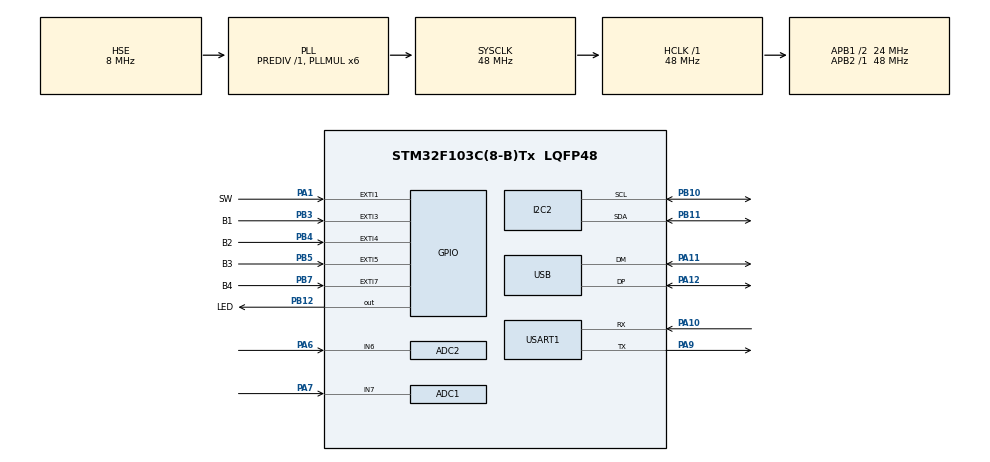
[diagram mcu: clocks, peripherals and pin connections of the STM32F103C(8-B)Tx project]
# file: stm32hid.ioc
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Mcu.Family=STM32F1
USB_DEVICE.CLASS_NAME_FS=HID
PB10.Mode=I2C
NVIC.EXTI3_IRQn=true\:0\:0\:false\:false\:true\:true\:true
PA11.Mode=Device
NVIC.TIM1_UP_IRQn=true\:0\:0\:false\:false\:true\:true\:true
PB11.Signal=I2C2_SDA
RCC.SYSCLKSource=RCC_SYSCLKSOURCE_PLLCLK
ProjectManager.StackSize=0x400
PD1-OSC_OUT.Signal=RCC_OSC_OUT
NVIC.EXTI1_IRQn=true\:0\:0\:false\:false\:true\:true\:true
PA12.Signal=USB_DP
TIM1.Prescaler=48000
RCC.HCLKFreq_Value=48000000
RCC.APB2TimFreq_Value=48000000
RCC.AHBFreq_Value=48000000
ADC1.Channel-0\#ChannelRegularConversion=ADC_CHANNEL_7
RCC.PLLMUL=RCC_PLL_MUL6
PB12.GPIO_Label=LED
PB3.GPIO_PuPd=GPIO_PULLUP
PA14.Mode=Serial_Wire
PB7.Signal=GPXTI7
VP_TIM1_VS_ClockSourceINT.Mode=Internal
ADC1.SamplingTime-0\#ChannelRegularConversion=ADC_SAMPLETIME_1CYCLE_5
PB7.GPIO_Label=B4
Mcu.Package=LQFP48
PA6.Signal=ADCx_IN6
PA10.Signal=USART1_RX
ADC2.SamplingTime-2\#ChannelRegularConversion=ADC_SAMPLETIME_1CYCLE_5
PB5.GPIO_Label=B3
RCC.APB1TimFreq_Value=48000000
ADC2.Rank-2\#ChannelRegularConversion=1
TIM1.Period=50
NVIC.USART1_IRQn=true\:0\:0\:false\:false\:true\:true\:true
PB4.Signal=GPXTI4
PB3.GPIO_Label=B1
PB7.GPIO_PuPd=GPIO_PULLUP
NVIC.EXTI4_IRQn=true\:0\:0\:false\:false\:true\:true\:true
ADC1.Rank-0\#ChannelRegularConversion=1
PD1-OSC_OUT.Mode=HSE-External-Oscillator
PA10.Mode=Asynchronous
USB_DEVICE.VirtualModeFS=Hid_FS
SH.ADCx_IN6.0=ADC2_IN6,IN6
USB_DEVICE.PRODUCT_STRING_HID_FS=IEM OPEN CONTROLLER
PD0-OSC_IN.Signal=RCC_OSC_IN
RCC.APB1CLKDivider=RCC_HCLK_DIV2
RCC.ADCPresc=RCC_ADCPCLK2_DIV4
PA13.Signal=SYS_JTMS-SWDIO
PA9.Mode=Asynchronous
PB11.Mode=I2C
ProjectManager.TargetToolchain=STM32CubeIDE
SH.ADCx_IN7.0=ADC1_IN7,IN7
PA9.Signal=USART1_TX
PB4.GPIO_PuPd=GPIO_PULLUP
RCC.USBFreq_Value=48000000
PA1.Signal=GPXTI1
PD0-OSC_IN.Mode=HSE-External-Oscillator
PB10.Signal=I2C2_SCL
NVIC.TIM1_TRG_COM_IRQn=true\:0\:0\:false\:false\:true\:true\:true
board=custom
ADC2.Channel-2\#ChannelRegularConversion=ADC_CHANNEL_6
VP_USB_DEVICE_VS_USB_DEVICE_HID_FS.Mode=HID_FS
RCC.APB2Freq_Value=48000000
PB4.GPIO_Label=B2
NVIC.USB_LP_CAN1_RX0_IRQn=true\:0\:0\:false\:false\:true\:false\:true
PA1.GPIO_Label=SW
PA13.Mode=Serial_Wire
Mcu.Name=STM32F103C(8-B)Tx
NVIC.TIM1_CC_IRQn=true\:0\:0\:false\:false\:true\:true\:true
PB3.Signal=GPXTI3
RCC.SYSCLKFreq_VALUE=48000000
PB5.Signal=GPXTI5
ADC1.master=1
PA12.Mode=Device
ADC2.NbrOfConversionFlag=1
PB5.GPIO_PuPd=GPIO_PULLUP
USART1.VirtualMode=VM_ASYNC
PA11.Signal=USB_DM
NVIC.EXTI9_5_IRQn=true\:0\:0\:false\:false\:true\:true\:true
PA14.Signal=SYS_JTCK-SWCLK
NVIC.TIM1_BRK_IRQn=true\:0\:0\:false\:false\:true\:true\:true
ProjectManager.HeapSize=0x200
NVIC.PriorityGroup=NVIC_PRIORITYGROUP_4
ADC1.NbrOfConversionFlag=1
RCC.APB1Freq_Value=24000000
USB_DEVICE.VirtualMode=Hid
PB12.Signal=GPIO_Output
PA7.Signal=ADCx_IN7

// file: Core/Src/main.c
/* USER CODE BEGIN Header */
/**
  ******************************************************************************
  * @file           : main.c
  * @brief          : Main program body
  ******************************************************************************
  * @attention
  *
  * <h2><center>&copy; Copyright (c) 2021 STMicroelectronics.
  * All rights reserved.</center></h2>
  *
  * This software component is licensed by ST under BSD 3-Clause license,
  * the "License"; You may not use this file except in compliance with the
  * License. You may obtain a copy of the License at:
  *                        opensource.org/licenses/BSD-3-Clause
  *
  ******************************************************************************
  */
/* USER CODE END Header */
#include "main.h"
#include "usb_device.h"

/* USER CODE BEGIN Includes */
#include "usbd_hid.h"
#include "string.h"
#include "stdio.h"
#include "mpu6050.h"
#include "stdbool.h"
//#include "adc.h"
//#include "usart.h"
/* USER CODE END Includes */

/* USER CODE BEGIN PD */
//#define DBG_BUF_LEN     512
DebugEnable debugenable;
MPU6050_t mpu6050;

/* USER CODE END PD */

ADC_HandleTypeDef hadc1;
ADC_HandleTypeDef hadc2;

I2C_HandleTypeDef hi2c2;

TIM_HandleTypeDef htim1;

UART_HandleTypeDef huart1;

/* USER CODE BEGIN PV */
int16_t min_xval = 128;
int16_t max_xval = -128;
int16_t min_yval = 128;
int16_t max_yval = -128;

int16_t newxval = 0;
int16_t newyval = 0;

uint8_t button_flag=0;

unsigned long pressed = 0;
uint8_t val = 0, interrupt_happened = 0, push_button_1 = 0, push_button_2 = 0, push_button_3 = 0, push_button_4 = 0;
uint16_t AD_RES1 = 0;
uint16_t AD_RES2 = 0;

uint8_t buf[35] = {'\0'};
uint8_t X = 0;
uint8_t UART1_recv;
uint8_t arr[10] = {'\0'};

bool state = true;

#define DBG_BUF_LEN     512
char DBG_BUFFER[DBG_BUF_LEN];

/* USER CODE END PV */

void SystemClock_Config(void);
static void MX_GPIO_Init(void);
static void MX_ADC1_Init(void);
static void MX_ADC2_Init(void);
static void MX_USART1_UART_Init(void);
static void MX_I2C2_Init(void);
static void MX_TIM1_Init(void);
/* USER CODE BEGIN PFP */
void printData(int data);
/* USER CODE END PFP */

/* USER CODE BEGIN 0 */
extern USBD_HandleTypeDef hUsbDeviceFS;

#define SYSTEM_DEBUG(FORMAT,...) {\
    memset(DBG_BUFFER, 0, DBG_BUF_LEN);\
    strcpy(DBG_BUFFER, "[SYSTEM]: "); \
    sprintf(DBG_BUFFER + strlen("[SYSTEM]: "),FORMAT,##__VA_ARGS__); \
	if(debugenable.system)\
		HAL_UART_Transmit(&huart1, (uint8_t*)(DBG_BUFFER), strlen((const char *)(DBG_BUFFER)), 2000);\
}
#define SIMPLE_DEBUG(FORMAT,...) {\
    memset(DBG_BUFFER, 0, DBG_BUF_LEN);\
    sprintf(DBG_BUFFER,FORMAT,##__VA_ARGS__); \
	HAL_UART_Transmit(&huart1, (uint8_t*)(DBG_BUFFER), strlen((const char *)(DBG_BUFFER)), 2000);\
}

typedef struct
{
	uint8_t button;
	int8_t mouse_x;
	int8_t mouse_y;
	int8_t wheel;
} mouseHID;

mouseHID mousehid = {0,0,0,0};

typedef struct
{
	uint8_t MODIFIER;
	uint8_t RESERVED;
	uint8_t KEYCODE1;
	uint8_t KEYCODE2;
	uint8_t KEYCODE3;
	uint8_t KEYCODE4;
	uint8_t KEYCODE5;
	uint8_t KEYCODE6;
} keyboardHID;

keyboardHID keyboardhid = {0,0,0,0,0,0,0,0};

void MPU_Calibrate (void)
{
	for (int i=0; i<50; i++)
	{
		MPU6050_Read_All(&hi2c2,&mpu6050);
		min_xval = MIN(min_xval, mpu6050.KalmanAngleX);
		max_xval = MAX(max_xval, mpu6050.KalmanAngleX);
		min_yval = MIN(min_yval, mpu6050.KalmanAngleY);
		max_yval = MAX(max_yval, mpu6050.KalmanAngleY);
		HAL_Delay (50);
	}

	/* Turn On the LED to show the completion of calibration */
	HAL_GPIO_WritePin(GPIOB, GPIO_PIN_5, 0);
}

/* USER CODE END 0 */

int main(void)
{

  /* MCU Configuration--------------------------------------------------------*/

  /* Reset of all peripherals, Initializes the Flash interface and the Systick. */
  HAL_Init();

  /* Configure the system clock */
  SystemClock_Config();

  /* Initialize all configured peripherals */
  MX_GPIO_Init();
  MX_USB_DEVICE_Init();
  MX_ADC1_Init();
  MX_ADC2_Init();
  MX_USART1_UART_Init();
  MX_I2C2_Init();
  MX_TIM1_Init();
  /* USER CODE BEGIN 2 */
  MPU6050_Init(&hi2c2);
  MPU_Calibrate();

  HAL_UART_Receive_IT(&huart1, &UART1_recv, 1);
  HAL_ADCEx_Calibration_Start(&hadc1);
  HAL_ADCEx_Calibration_Start(&hadc2);
  debugenable.system = 1;
  /* USER CODE END 2 */

  /* Infinite loop */
  while (1)
  {

    /* USER CODE BEGIN 3 */
	  MPU6050_Read_All(&hi2c2,&mpu6050);
//	  SIMPLE_DEBUG("%f,%f,%f\n ",mpu6050.Gx,mpu6050.Gy,mpu6050.Gz);
	  SIMPLE_DEBUG("%f,%f\n",mpu6050.KalmanAngleX,mpu6050.KalmanAngleY)
	  if (mpu6050.KalmanAngleX < min_xval) newxval = mpu6050.KalmanAngleX - min_xval;
	  if (mpu6050.KalmanAngleX > max_xval) newxval = mpu6050.KalmanAngleX - max_xval;
	  if (mpu6050.KalmanAngleY < min_yval) newyval = mpu6050.KalmanAngleY - min_yval;
	  if (mpu6050.KalmanAngleY > max_yval) newyval = mpu6050.KalmanAngleY - max_yval;

	  SIMPLE_DEBUG("%d,%d\n",newxval,newyval);

//	  if ((newxval > 20) || (newxval < -20))
//	  {
//		  mousehid.mouse_y = newxval/3;
//	  }
//
//	  else mousehid.mouse_y = 0;
//
//	  if ((newyval > 20) || (newyval < -20))
//	  {
//		  mousehid.mouse_x = newyval/3;
//	  }
//
//	  else mousehid.mouse_x = 0;

	  if (((newyval > 5) || (newyval < -5))||((newxval > 5) || (newxval < -5)))
	  {
		  mousehid.mouse_x = newyval/3;
		  mousehid.mouse_y = newxval/3;
	  }

	  else
      {
		mousehid.mouse_x = 0;
		mousehid.mouse_y = 0;
      }

	  HAL_ADC_Start(&hadc1);
      HAL_ADC_Start(&hadc2);
     // Poll ADC1 Peripheral & TimeOut = 1mSec
      HAL_ADC_PollForConversion(&hadc1, 1);
      HAL_ADC_PollForConversion(&hadc2, 1);
     // Read The ADC Conversion Result & Map It To PWM DutyCycle
      AD_RES1 = HAL_ADC_GetValue(&hadc1);
      AD_RES2 = HAL_ADC_GetValue(&hadc2);

      USBD_HID_SendReport(&hUsbDeviceFS, &mousehid, sizeof(mousehid));

//      if(interrupt_happened)
//      {
//    	  HAL_GPIO_TogglePin(GPIOB,GPIO_PIN_12);
//    	  interrupt_happened = 0;
//      }
//      printData(AD_RES1);

//      SYSTEM_DEBUG("1: %d, 2: %d\n",AD_RES1,AD_RES2);

//	  val = HAL_GPIO_ReadPin(GPIOA, GPIO_PIN_1);
//	  if(!HAL_GPIO_ReadPin(GPIOA, GPIO_PIN_1))
//	  {
//		  HAL_Delay(50);
////		  keyboardhid.MODIFIER = 0x02;   // for left shift to print capital
//		  keyboardhid.MODIFIER = 0x01;   // for left ctrl to copy
////		  keyboardhid.KEYCODE1 = 0x04;   // for a
//		  keyboardhid.KEYCODE1 = 0x06;   // for c
//
//
//
//
//
//		  USBD_HID_SendReport(&hUsbDeviceFS, &keyboardhid, sizeof(keyboardhid));
//		  HAL_Delay(50);
//		  keyboardhid.MODIFIER = 0x00;   //release left shift
//		  keyboardhid.KEYCODE1 = 0x00;   //realease key
//		  USBD_HID_SendReport(&hUsbDeviceFS, &keyboardhid, sizeof(keyboardhid));
//
//
//	  }
//	  if(!HAL_GPIO_ReadPin(GPIOA, GPIO_PIN_2))
//	  {
//		  HAL_Delay(50);
//		  if(HAL_GetTick() - pressed > 100)
//		  {
//			  keyboardhid.MODIFIER = 0x01;   // for left ctrl to paste
//			  keyboardhid.KEYCODE1 = 0x19;   // for v
//			  USBD_HID_SendReport(&hUsbDeviceFS, &keyboardhid, sizeof(keyboardhid));
//			  HAL_Delay(50);
//
//			  keyboardhid.MODIFIER = 0x00;   //release left shift
//			  keyboardhid.KEYCODE1 = 0x00;   //realease key
//			  USBD_HID_SendReport(&hUsbDeviceFS, &keyboardhid, sizeof(keyboardhid));
//
//			  pressed = HAL_GetTick();
//		  }
//	  }
	  HAL_Delay(10);
  }
  /* USER CODE END 3 */
}

void SystemClock_Config(void)
{
  RCC_OscInitTypeDef RCC_OscInitStruct = {0};
  RCC_ClkInitTypeDef RCC_ClkInitStruct = {0};
  RCC_PeriphCLKInitTypeDef PeriphClkInit = {0};

  /** Initializes the RCC Oscillators according to the specified parameters
  * in the RCC_OscInitTypeDef structure.
  */
  RCC_OscInitStruct.OscillatorType = RCC_OSCILLATORTYPE_HSE;
  RCC_OscInitStruct.HSEState = RCC_HSE_ON;
  RCC_OscInitStruct.HSEPredivValue = RCC_HSE_PREDIV_DIV1;
  RCC_OscInitStruct.HSIState = RCC_HSI_ON;
  RCC_OscInitStruct.PLL.PLLState = RCC_PLL_ON;
  RCC_OscInitStruct.PLL.PLLSource = RCC_PLLSOURCE_HSE;
  RCC_OscInitStruct.PLL.PLLMUL = RCC_PLL_MUL6;
  if (HAL_RCC_OscConfig(&RCC_OscInitStruct) != HAL_OK)
  {
    Error_Handler();
  }
  /** Initializes the CPU, AHB and APB buses clocks
  */
  RCC_ClkInitStruct.ClockType = RCC_CLOCKTYPE_HCLK|RCC_CLOCKTYPE_SYSCLK
                              |RCC_CLOCKTYPE_PCLK1|RCC_CLOCKTYPE_PCLK2;
  RCC_ClkInitStruct.SYSCLKSource = RCC_SYSCLKSOURCE_PLLCLK;
  RCC_ClkInitStruct.AHBCLKDivider = RCC_SYSCLK_DIV1;
  RCC_ClkInitStruct.APB1CLKDivider = RCC_HCLK_DIV2;
  RCC_ClkInitStruct.APB2CLKDivider = RCC_HCLK_DIV1;

  if (HAL_RCC_ClockConfig(&RCC_ClkInitStruct, FLASH_LATENCY_1) != HAL_OK)
  {
    Error_Handler();
  }
  PeriphClkInit.PeriphClockSelection = RCC_PERIPHCLK_ADC|RCC_PERIPHCLK_USB;
  PeriphClkInit.AdcClockSelection = RCC_ADCPCLK2_DIV4;
  PeriphClkInit.UsbClockSelection = RCC_USBCLKSOURCE_PLL;
  if (HAL_RCCEx_PeriphCLKConfig(&PeriphClkInit) != HAL_OK)
  {
    Error_Handler();
  }
}

static void MX_ADC1_Init(void)
{

  ADC_ChannelConfTypeDef sConfig = {0};

  /** Common config
  */
  hadc1.Instance = ADC1;
  hadc1.Init.ScanConvMode = ADC_SCAN_DISABLE;
  hadc1.Init.ContinuousConvMode = DISABLE;
  hadc1.Init.DiscontinuousConvMode = DISABLE;
  hadc1.Init.ExternalTrigConv = ADC_SOFTWARE_START;
  hadc1.Init.DataAlign = ADC_DATAALIGN_RIGHT;
  hadc1.Init.NbrOfConversion = 1;
  if (HAL_ADC_Init(&hadc1) != HAL_OK)
  {
    Error_Handler();
  }
  /** Configure Regular Channel
  */
  sConfig.Channel = ADC_CHANNEL_7;
  sConfig.Rank = ADC_REGULAR_RANK_1;
  sConfig.SamplingTime = ADC_SAMPLETIME_1CYCLE_5;
  if (HAL_ADC_ConfigChannel(&hadc1, &sConfig) != HAL_OK)
  {
    Error_Handler();
  }

}

static void MX_ADC2_Init(void)
{

  ADC_ChannelConfTypeDef sConfig = {0};

  /** Common config
  */
  hadc2.Instance = ADC2;
  hadc2.Init.ScanConvMode = ADC_SCAN_DISABLE;
  hadc2.Init.ContinuousConvMode = DISABLE;
  hadc2.Init.DiscontinuousConvMode = DISABLE;
  hadc2.Init.ExternalTrigConv = ADC_SOFTWARE_START;
  hadc2.Init.DataAlign = ADC_DATAALIGN_RIGHT;
  hadc2.Init.NbrOfConversion = 1;
  if (HAL_ADC_Init(&hadc2) != HAL_OK)
  {
    Error_Handler();
  }
  /** Configure Regular Channel
  */
  sConfig.Channel = ADC_CHANNEL_6;
  sConfig.Rank = ADC_REGULAR_RANK_1;
  sConfig.SamplingTime = ADC_SAMPLETIME_1CYCLE_5;
  if (HAL_ADC_ConfigChannel(&hadc2, &sConfig) != HAL_OK)
  {
    Error_Handler();
  }

}

static void MX_I2C2_Init(void)
{

  hi2c2.Instance = I2C2;
  hi2c2.Init.ClockSpeed = 100000;
  hi2c2.Init.DutyCycle = I2C_DUTYCYCLE_2;
  hi2c2.Init.OwnAddress1 = 0;
  hi2c2.Init.AddressingMode = I2C_ADDRESSINGMODE_7BIT;
  hi2c2.Init.DualAddressMode = I2C_DUALADDRESS_DISABLE;
  hi2c2.Init.OwnAddress2 = 0;
  hi2c2.Init.GeneralCallMode = I2C_GENERALCALL_DISABLE;
  hi2c2.Init.NoStretchMode = I2C_NOSTRETCH_DISABLE;
  if (HAL_I2C_Init(&hi2c2) != HAL_OK)
  {
    Error_Handler();
  }

}

static void MX_TIM1_Init(void)
{

  TIM_ClockConfigTypeDef sClockSourceConfig = {0};
  TIM_MasterConfigTypeDef sMasterConfig = {0};

  htim1.Instance = TIM1;
  htim1.Init.Prescaler = 48000;
  htim1.Init.CounterMode = TIM_COUNTERMODE_UP;
  htim1.Init.Period = 50;
  htim1.Init.ClockDivision = TIM_CLOCKDIVISION_DIV1;
  htim1.Init.RepetitionCounter = 0;
  htim1.Init.AutoReloadPreload = TIM_AUTORELOAD_PRELOAD_DISABLE;
  if (HAL_TIM_Base_Init(&htim1) != HAL_OK)
  {
    Error_Handler();
  }
  sClockSourceConfig.ClockSource = TIM_CLOCKSOURCE_INTERNAL;
  if (HAL_TIM_ConfigClockSource(&htim1, &sClockSourceConfig) != HAL_OK)
  {
    Error_Handler();
  }
  sMasterConfig.MasterOutputTrigger = TIM_TRGO_RESET;
  sMasterConfig.MasterSlaveMode = TIM_MASTERSLAVEMODE_DISABLE;
  if (HAL_TIMEx_MasterConfigSynchronization(&htim1, &sMasterConfig) != HAL_OK)
  {
    Error_Handler();
  }

}

static void MX_USART1_UART_Init(void)
{

  huart1.Instance = USART1;
  huart1.Init.BaudRate = 115200;
  huart1.Init.WordLength = UART_WORDLENGTH_8B;
  huart1.Init.StopBits = UART_STOPBITS_1;
  huart1.Init.Parity = UART_PARITY_NONE;
  huart1.Init.Mode = UART_MODE_TX_RX;
  huart1.Init.HwFlowCtl = UART_HWCONTROL_NONE;
  huart1.Init.OverSampling = UART_OVERSAMPLING_16;
  if (HAL_UART_Init(&huart1) != HAL_OK)
  {
    Error_Handler();
  }

}

static void MX_GPIO_Init(void)
{
  GPIO_InitTypeDef GPIO_InitStruct = {0};

  /* GPIO Ports Clock Enable */
  __HAL_RCC_GPIOD_CLK_ENABLE();
  __HAL_RCC_GPIOA_CLK_ENABLE();
  __HAL_RCC_GPIOB_CLK_ENABLE();

  /*Configure GPIO pin Output Level */
  HAL_GPIO_WritePin(LED_GPIO_Port, LED_Pin, GPIO_PIN_RESET);

  /*Configure GPIO pin : SW_Pin */
  GPIO_InitStruct.Pin = SW_Pin;
  GPIO_InitStruct.Mode = GPIO_MODE_IT_RISING;
  GPIO_InitStruct.Pull = GPIO_NOPULL;
  HAL_GPIO_Init(SW_GPIO_Port, &GPIO_InitStruct);

  /*Configure GPIO pin : LED_Pin */
  GPIO_InitStruct.Pin = LED_Pin;
  GPIO_InitStruct.Mode = GPIO_MODE_OUTPUT_PP;
  GPIO_InitStruct.Pull = GPIO_NOPULL;
  GPIO_InitStruct.Speed = GPIO_SPEED_FREQ_LOW;
  HAL_GPIO_Init(LED_GPIO_Port, &GPIO_InitStruct);

  /*Configure GPIO pins : B1_Pin B2_Pin B3_Pin B4_Pin */
  GPIO_InitStruct.Pin = B1_Pin|B2_Pin|B3_Pin|B4_Pin;
  GPIO_InitStruct.Mode = GPIO_MODE_IT_RISING;
  GPIO_InitStruct.Pull = GPIO_PULLUP;
  HAL_GPIO_Init(GPIOB, &GPIO_InitStruct);

  /* EXTI interrupt init*/
  HAL_NVIC_SetPriority(EXTI1_IRQn, 0, 0);
  HAL_NVIC_EnableIRQ(EXTI1_IRQn);

  HAL_NVIC_SetPriority(EXTI3_IRQn, 0, 0);
  HAL_NVIC_EnableIRQ(EXTI3_IRQn);

  HAL_NVIC_SetPriority(EXTI4_IRQn, 0, 0);
  HAL_NVIC_EnableIRQ(EXTI4_IRQn);

  HAL_NVIC_SetPriority(EXTI9_5_IRQn, 0, 0);
  HAL_NVIC_EnableIRQ(EXTI9_5_IRQn);

}

/* USER CODE BEGIN 4 */
void HAL_GPIO_EXTI_Callback(uint16_t GPIO_Pin)
{
    if(GPIO_Pin == GPIO_PIN_1) // If The INT Source Is EXTI Line9 (A9 Pin)
    {
    	interrupt_happened = 1;
    }
    if(GPIO_Pin == GPIO_PIN_3 && state == true) // If The INT Source Is EXTI Line9 (A9 Pin)
    {
    	HAL_TIM_Base_Start_IT(&htim1);
    	interrupt_happened = 1;
    	state = false;
    }
    if(GPIO_Pin == GPIO_PIN_4) // If The INT Source Is EXTI Line9 (A9 Pin)
    {
    	interrupt_happened = 1;
    }
    if(GPIO_Pin == GPIO_PIN_5) // If The INT Source Is EXTI Line9 (A9 Pin)
    {
    	interrupt_happened = 1;
    }
    if(GPIO_Pin == GPIO_PIN_7) // If The INT Source Is EXTI Line9 (A9 Pin)
    {
    	interrupt_happened = 1;
    }

}
void HAL_TIM_PeriodElapsedCallback(TIM_HandleTypeDef *htim)
{
	  /* Prevent unused argument(s) compilation warning */
	  UNUSED(htim);

	  /* NOTE : This function should not be modified, when the callback is needed,
	            the HAL_TIM_PeriodElapsedCallback could be implemented in the user file
	   */
		if(HAL_GPIO_ReadPin(GPIOB, GPIO_PIN_3) == GPIO_PIN_RESET)
		{
			HAL_GPIO_TogglePin(GPIOB, GPIO_PIN_12);
			state = true;
			HAL_TIM_Base_Stop_IT(&htim1);
		}
}
void HAL_UART_RxCpltCallback(UART_HandleTypeDef *huart)
{
	if (huart->Instance == USART1)
	{
		UART1_recv -= 48;
		printData(UART1_recv);
	}
	HAL_UART_Receive_IT(&huart1, &UART1_recv, 1);
}
void printData(int data)
{
	sprintf((char*)buf,"Data received:  %d \r\n",data);
	HAL_UART_Transmit(&huart1,buf,strlen((char*)buf),HAL_MAX_DELAY);
}

/* USER CODE END 4 */

void Error_Handler(void)
{
  __disable_irq();
  while (1)
  {
  }
}

/************************ (C) COPYRIGHT STMicroelectronics *****END OF FILE****/
